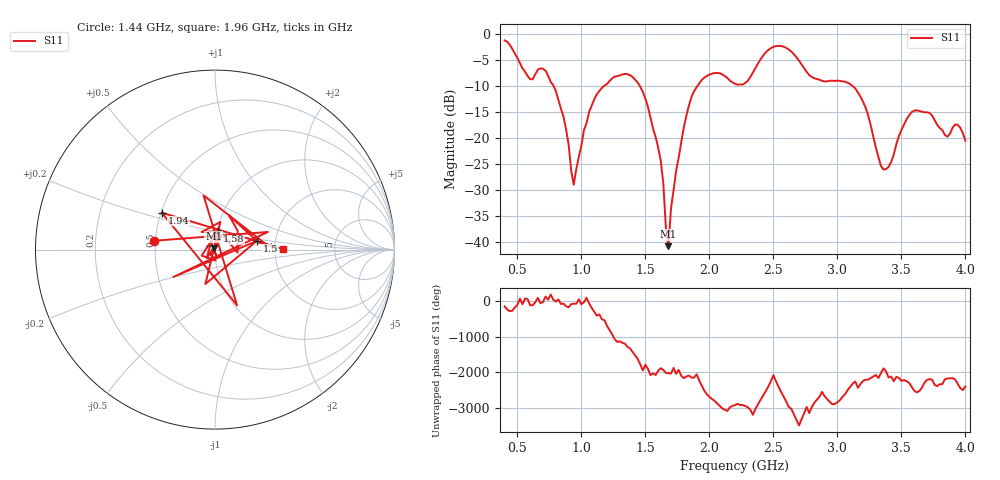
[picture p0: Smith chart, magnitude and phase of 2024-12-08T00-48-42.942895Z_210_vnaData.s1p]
!Created with skrf (http://scikit-rf.org).
# Hz S RI R 50.0
!freq ReS11 ImS11
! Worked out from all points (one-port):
!   181 points, 400 MHz to 4 GHz, reference 50 ohm
!   lowest |S11| = -40.7 dB at 1.68 GHz (marker M1), VSWR 1.02, Z = 49.4 + j0.649 ohm
!   |S11| at or under -10 dB: 783 MHz to 1.175 GHz (392.5 MHz wide, 40.1 % of centre); 1.456 GHz to 1.906 GHz (449.7 MHz wide, 26.7 % of centre); 3.119 GHz to end of sweep
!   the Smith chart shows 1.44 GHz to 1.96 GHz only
!   S11 on the Smith chart (normalised r, x): 1.44 GHz: 0.49, +0.06; 1.5 GHz: 1.60, +0.17; 1.58 GHz: 1.01, +0.21; 1.94 GHz: 0.51, +0.24; 1.96 GHz: 2.23, +0.01
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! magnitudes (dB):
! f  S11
! 400 MHz  -1.3
! 600 MHz  -8.7
! 720 MHz  -7.1
! 860 MHz  -15.9
! 940 MHz  -28.9
! 1.1 GHz  -12.6
! 1.3 GHz  -8.0
! 1.44 GHz  -9.3
! 1.5 GHz  -12.4
! 1.58 GHz  -19.8
! 1.62 GHz  -24.3
! 1.68 GHz  -40.7
! 1.7 GHz  -33.5
! 1.76 GHz  -23.7
! 1.84 GHz  -13.7
! 1.94 GHz  -8.9
! 1.96 GHz  -8.4
! 2.2 GHz  -9.6
! 2.5 GHz  -2.5
! 2.66 GHz  -3.9
! 2.8 GHz  -8.3
! 3.1 GHz  -9.6
! 3.22 GHz  -14.1
! 3.36 GHz  -26.0
! 3.56 GHz  -15.6
! 3.86 GHz  -19.7
! 3.94 GHz  -17.5
! 4 GHz  -20.5
